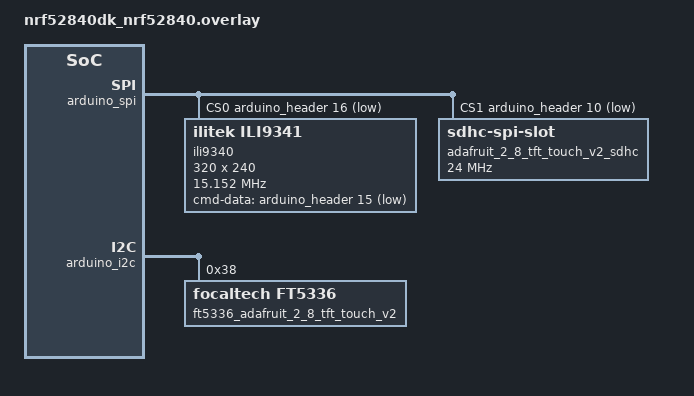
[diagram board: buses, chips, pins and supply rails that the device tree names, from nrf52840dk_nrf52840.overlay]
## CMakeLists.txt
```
#
# Copyright (c) 2018 Nordic Semiconductor
#
# SPDX-License-Identifier: LicenseRef-Nordic-5-Clause
#
cmake_minimum_required(VERSION 3.20.0)

set(SHIELD adafruit_2_8_tft_touch_v2)
find_package(Zephyr REQUIRED HINTS $ENV{ZEPHYR_BASE})
project(ble_dnd_sign)

# NORDIC SDK APP START
target_sources(app PRIVATE
  src/main.c
  src/display/display.c
  src/display/logo.c
)

# NORDIC SDK APP END
zephyr_library_include_directories(.)
```

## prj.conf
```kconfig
#
# Copyright (c) 2018 Nordic Semiconductor
#
# SPDX-License-Identifier: LicenseRef-Nordic-5-Clause
#
CONFIG_NCS_SAMPLES_DEFAULTS=y

CONFIG_BT=y
CONFIG_BT_PERIPHERAL=y
CONFIG_BT_DEVICE_NAME="Nordic_LBS"

# Enable the LBS service
CONFIG_BT_LBS=y
CONFIG_BT_LBS_POLL_BUTTON=y
CONFIG_DK_LIBRARY=y

CONFIG_SYSTEM_WORKQUEUE_STACK_SIZE=2048

# Zbus stuff (for ipc, not necessary)
# CONFIG_ZBUS=y
# CONFIG_ZBUS_CHANNEL_NAME=y

# Screen stuff
# LVGL configs
CONFIG_HEAP_MEM_POOL_SIZE=16384
CONFIG_MAIN_STACK_SIZE=2048
CONFIG_LV_Z_MEM_POOL_NUMBER_BLOCKS=8

CONFIG_SPI=y
# CONFIG_SSD16XX=y # e-ink
CONFIG_ILI9341=y # TFT display
CONFIG_I2C=y

CONFIG_DISPLAY=y
CONFIG_DISPLAY_LOG_LEVEL_ERR=y

CONFIG_LOG=y

CONFIG_LVGL=y
CONFIG_LV_MEM_CUSTOM=y
CONFIG_LV_USE_LOG=y
CONFIG_LV_USE_LABEL=y
CONFIG_LV_USE_BTN=y
CONFIG_LV_USE_IMG=y
CONFIG_LV_FONT_MONTSERRAT_14=y
```

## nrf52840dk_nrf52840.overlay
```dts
// To get started, press Ctrl+Space to bring up the completion menu and view the available nodes.

// You can also use the buttons in the sidebar to perform actions on nodes.
// Actions currently available include:

// * Enabling / disabling the node
// * Adding the bus to a bus
// * Removing the node
// * Connecting ADC channels

// For more help, browse the DeviceTree documentation at https://docs.zephyrproject.org/latest/guides/dts/index.html
// You can also visit the nRF DeviceTree extension documentation at https://nrfconnect.github.io/vscode-nrf-connect/devicetree/nrfdevicetree.html

#include <zephyr/dt-bindings/display/ili9xxx.h>

/ {
	chosen {
		zephyr,display = &ili9340;
	};

	lvgl_pointer {
		compatible = "zephyr,lvgl-pointer-input";
		input = <&ft5336_adafruit_2_8_tft_touch_v2>;
		swap-xy;
		invert-x;
		invert-y;
	};
};

&arduino_spi {
	status = "okay";
	cs-gpios = <&arduino_header 16 GPIO_ACTIVE_LOW>,	/* D10 */
		   <&arduino_header 10 GPIO_ACTIVE_LOW>;	/* D04 */


	ili9340: ili9340@0 {
		compatible = "ilitek,ili9341";
		spi-max-frequency = <15151515>;
		reg = <0>;
		cmd-data-gpios = <&arduino_header 15 GPIO_ACTIVE_LOW>;	/* D9 */
		width = <320>;
		height = <240>;
		pixel-format = <ILI9XXX_PIXEL_FORMAT_RGB888>;
		rotation = <90>;
		frmctr1 = [00 1b];
		pwctrl1 = [10];
		vmctrl1 = [45 15];
		vmctrl2 = [90];
		pgamctrl = [0F 29 24 0c 0e 09 4e 78 3c 09 13 05 17 11 00];
		ngamctrl = [00 16 1b 04 11 07 31 33 42 05 0c 0a 28 2f 0f];
	};

	adafruit_2_8_tft_touch_v2_sdhc: sdhc@1 {
		compatible = "zephyr,sdhc-spi-slot";
		reg = <1>;
		status = "okay";
		spi-max-frequency = <24000000>;
		mmc {
			compatible = "zephyr,sdmmc-disk";
			status = "okay";
		};
	};
};

&arduino_i2c {
	ft5336_adafruit_2_8_tft_touch_v2: ft5336@38 {
		compatible = "focaltech,ft5336";
		reg = <0x38>;
		/* Uncomment if IRQ line is available (requires to solder jumper) */
		/* int-gpios = <&arduino_header 13 GPIO_ACTIVE_LOW>; */ /* D7 */
	};
};
```

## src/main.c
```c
/*
 * Copyright (c) 2018 Nordic Semiconductor ASA
 *
 * SPDX-License-Identifier: LicenseRef-Nordic-5-Clause
 */

#include <zephyr/types.h>
#include <stddef.h>
#include <string.h>
#include <errno.h>
#include <zephyr/sys/printk.h>
#include <zephyr/sys/byteorder.h>
#include <zephyr/kernel.h>
#include <zephyr/drivers/gpio.h>
#include <soc.h>

#include <zephyr/bluetooth/bluetooth.h>
#include <zephyr/bluetooth/hci.h>
#include <zephyr/bluetooth/conn.h>
#include <zephyr/bluetooth/uuid.h>
#include <zephyr/bluetooth/gatt.h>

#include <bluetooth/services/lbs.h>

#include <zephyr/settings/settings.h>

#include <dk_buttons_and_leds.h>

#define DEVICE_NAME             CONFIG_BT_DEVICE_NAME
#define DEVICE_NAME_LEN         (sizeof(DEVICE_NAME) - 1)


#define RUN_STATUS_LED          DK_LED1
#define CON_STATUS_LED          DK_LED2
#define RUN_LED_BLINK_INTERVAL  1000

#define USER_LED                DK_LED3

#define USER_BUTTON             DK_BTN1_MSK

static bool app_button_state;

// status
volatile bool do_not_disturb = false;
volatile bool ble_connected = false;

static const struct bt_data ad[] = {
	BT_DATA_BYTES(BT_DATA_FLAGS, (BT_LE_AD_GENERAL | BT_LE_AD_NO_BREDR)),
	BT_DATA(BT_DATA_NAME_COMPLETE, DEVICE_NAME, DEVICE_NAME_LEN),
};

static const struct bt_data sd[] = {
	BT_DATA_BYTES(BT_DATA_UUID128_ALL, BT_UUID_LBS_VAL),
};

static void connected(struct bt_conn *conn, uint8_t err)
{
	if (err) {
		printk("Connection failed (err %u)\n", err);
		return;
	}

	printk("Connected\n");
	ble_connected = true;
	dk_set_led_on(CON_STATUS_LED);
}

static void disconnected(struct bt_conn *conn, uint8_t reason)
{
	printk("Disconnected (reason %u)\n", reason);
	ble_connected = false;
	dk_set_led_off(CON_STATUS_LED);
}

#ifdef CONFIG_BT_LBS_SECURITY_ENABLED
static void security_changed(struct bt_conn *conn, bt_security_t level,
			     enum bt_security_err err)
{
	char addr[BT_ADDR_LE_STR_LEN];

	bt_addr_le_to_str(bt_conn_get_dst(conn), addr, sizeof(addr));

	if (!err) {
		printk("Security changed: %s level %u\n", addr, level);
	} else {
		printk("Security failed: %s level %u err %d\n", addr, level,
			err);
	}
}
#endif

BT_CONN_CB_DEFINE(conn_callbacks) = {
	.connected        = connected,
	.disconnected     = disconnected,
#ifdef CONFIG_BT_LBS_SECURITY_ENABLED
	.security_changed = security_changed,
#endif
};

#if defined(CONFIG_BT_LBS_SECURITY_ENABLED)
static void auth_passkey_display(struct bt_conn *conn, unsigned int passkey)
{
	char addr[BT_ADDR_LE_STR_LEN];

	bt_addr_le_to_str(bt_conn_get_dst(conn), addr, sizeof(addr));

	printk("Passkey for %s: %06u\n", addr, passkey);
}

static void auth_cancel(struct bt_conn *conn)
{
	char addr[BT_ADDR_LE_STR_LEN];

	bt_addr_le_to_str(bt_conn_get_dst(conn), addr, sizeof(addr));

	printk("Pairing cancelled: %s\n", addr);
}

static void pairing_complete(struct bt_conn *conn, bool bonded)
{
	char addr[BT_ADDR_LE_STR_LEN];

	bt_addr_le_to_str(bt_conn_get_dst(conn), addr, sizeof(addr));

	printk("Pairing completed: %s, bonded: %d\n", addr, bonded);
}

static void pairing_failed(struct bt_conn *conn, enum bt_security_err reason)
{
	char addr[BT_ADDR_LE_STR_LEN];

	bt_addr_le_to_str(bt_conn_get_dst(conn), addr, sizeof(addr));

	printk("Pairing failed conn: %s, reason %d\n", addr, reason);
}

static struct bt_conn_auth_cb conn_auth_callbacks = {
	.passkey_display = auth_passkey_display,
	.cancel = auth_cancel,
};

static struct bt_conn_auth_info_cb conn_auth_info_callbacks = {
	.pairing_complete = pairing_complete,
	.pairing_failed = pairing_failed
};
#else
static struct bt_conn_auth_cb conn_auth_callbacks;
static struct bt_conn_auth_info_cb conn_auth_info_callbacks;
#endif

static void app_led_cb(bool led_state)
{
	do_not_disturb = !(do_not_disturb);
	dk_set_led(USER_LED, led_state);
}

static bool app_button_cb(void)
{
	return app_button_state;
}

static struct bt_lbs_cb lbs_callbacs = {
	.led_cb    = app_led_cb,
	.button_cb = app_button_cb,
};

static void button_changed(uint32_t button_state, uint32_t has_changed)
{
	if (has_changed & USER_BUTTON) {
		uint32_t user_button_state = button_state & USER_BUTTON;

		bt_lbs_send_button_state(user_button_state);
		app_button_state = user_button_state ? true : false;
	}
}

static int init_button(void)
{
	int err;

	err = dk_buttons_init(button_changed);
	if (err) {
		printk("Cannot init buttons (err: %d)\n", err);
	}

	return err;
}

int main(void)
{
	int blink_status = 0;
	int err;

	printk("Starting Bluetooth Peripheral LBS example\n");

	err = dk_leds_init();
	if (err) {
		printk("LEDs init failed (err %d)\n", err);
		return 0;
	}

	err = init_button();
	if (err) {
		printk("Button init failed (err %d)\n", err);
		return 0;
	}

	if (IS_ENABLED(CONFIG_BT_LBS_SECURITY_ENABLED)) {
		err = bt_conn_auth_cb_register(&conn_auth_callbacks);
		if (err) {
			printk("Failed to register authorization callbacks.\n");
			return 0;
		}

		err = bt_conn_auth_info_cb_register(&conn_auth_info_callbacks);
		if (err) {
			printk("Failed to register authorization info callbacks.\n");
			return 0;
		}
	}

	err = bt_enable(NULL);
	if (err) {
		printk("Bluetooth init failed (err %d)\n", err);
		return 0;
	}

	printk("Bluetooth initialized\n");

	if (IS_ENABLED(CONFIG_SETTINGS)) {
		settings_load();
	}

	err = bt_lbs_init(&lbs_callbacs);
	if (err) {
		printk("Failed to init LBS (err:%d)\n", err);
		return 0;
	}

	err = bt_le_adv_start(BT_LE_ADV_CONN, ad, ARRAY_SIZE(ad),
			      sd, ARRAY_SIZE(sd));
	if (err) {
		printk("Advertising failed to start (err %d)\n", err);
		return 0;
	}

	printk("Advertising successfully started\n");

	for (;;) {
		dk_set_led(RUN_STATUS_LED, (++blink_status) % 2);
		k_sleep(K_MSEC(RUN_LED_BLINK_INTERVAL));
	}
}
```
